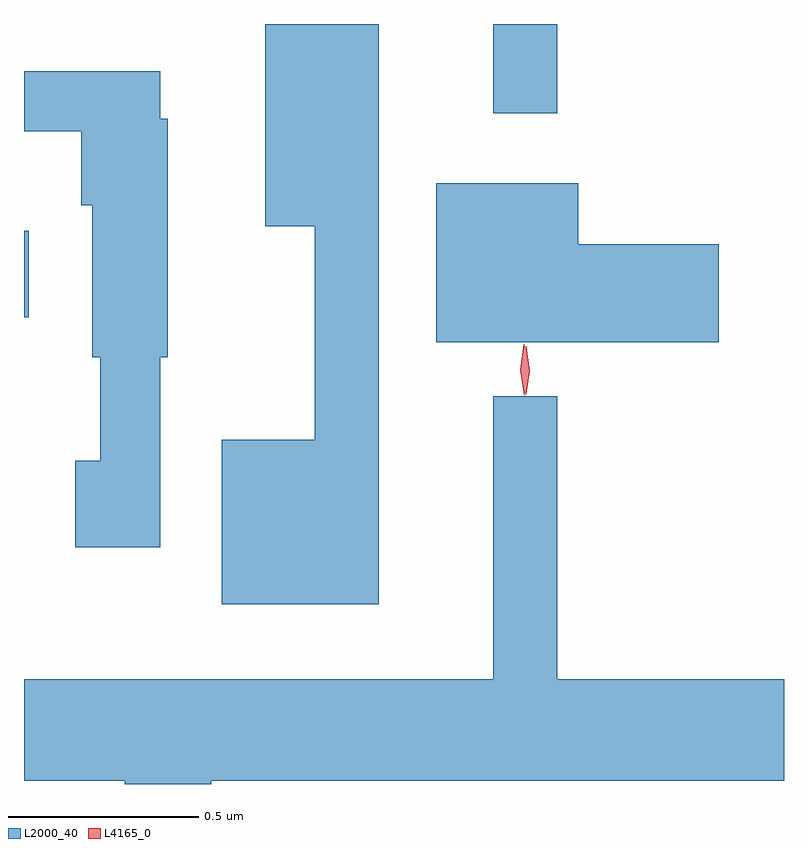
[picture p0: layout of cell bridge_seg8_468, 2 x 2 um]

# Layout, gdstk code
import gdstk
lib = gdstk.Library(unit=1e-6, precision=1e-09)
def R(c, l, rs):  # rectangles x0, y0, x1, y1
    for r in rs: c.add(gdstk.rectangle(r[:2], r[2:], *l))
def P(c, l, *ps):  # polygons
    for p in ps: c.add(gdstk.Polygon(p, *l))
L2000_40 = (2000, 40)
L4165_0 = (4165, 0)

bridge_seg8_468 = lib.new_cell('bridge_seg8_468')
R(bridge_seg8_468, L2000_40, [(596.986,1897.576,596.999,1897.804), (598.221,1898.113,598.389,1898.348)])
P(bridge_seg8_468, L2000_40, [(597.919,1898.348),(597.621,1898.348),(597.621,1897.816),(597.751,1897.816),(597.751,1897.254),(597.506,1897.254),(597.506,1896.821),(597.919,1896.821)],
  [(597.344,1897.471),(597.364,1897.471),(597.364,1898.099),(597.344,1898.099),(597.344,1898.224),(596.986,1898.224),(596.986,1898.066),(597.136,1898.066),(597.136,1897.871),(597.166,1897.871),(597.166,1897.471),(597.186,1897.471),(597.186,1897.199),(597.121,1897.199),(597.121,1896.971),(597.344,1896.971)],
  [(598.814,1897.769),(598.444,1897.769),(598.444,1897.929),(598.071,1897.929),(598.071,1897.511),(598.814,1897.511)],
  [(597.479,1896.356),(598.986,1896.356),(598.986,1896.624),(598.389,1896.624),(598.389,1897.368),(598.221,1897.368),(598.221,1896.624),(596.986,1896.624),(596.986,1896.356),(597.251,1896.356),(597.251,1896.348),(597.479,1896.348)])
P(bridge_seg8_468, L4165_0, [(598.302,1897.37),(598.302,1897.37),(598.292,1897.438),(598.301,1897.505),(598.301,1897.506),(598.302,1897.505),(598.312,1897.438),(598.302,1897.37)],
  [(598.307,1897.373),(598.307,1897.374),(598.298,1897.436),(598.307,1897.5),(598.307,1897.5),(598.308,1897.5),(598.317,1897.436),(598.308,1897.374)])

lib.write_gds('bridge_seg8_468.gds')
